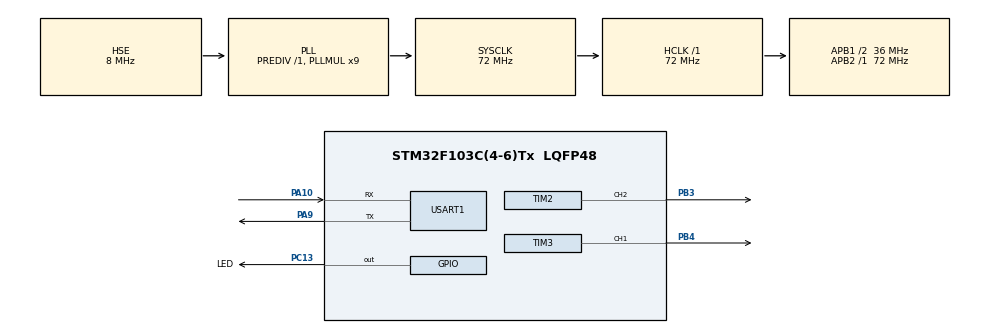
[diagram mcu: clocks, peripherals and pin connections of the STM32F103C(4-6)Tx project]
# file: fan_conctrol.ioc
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Dma.Request0=USART1_RX
Dma.Request1=TIM3_CH1/TRIG
Dma.TIM3_CH1/TRIG.1.Direction=DMA_MEMORY_TO_PERIPH
Dma.TIM3_CH1/TRIG.1.Instance=DMA1_Channel6
Dma.TIM3_CH1/TRIG.1.MemDataAlignment=DMA_MDATAALIGN_HALFWORD
Dma.TIM3_CH1/TRIG.1.MemInc=DMA_MINC_ENABLE
Dma.TIM3_CH1/TRIG.1.Mode=DMA_NORMAL
Dma.TIM3_CH1/TRIG.1.PeriphDataAlignment=DMA_PDATAALIGN_HALFWORD
Dma.TIM3_CH1/TRIG.1.PeriphInc=DMA_PINC_DISABLE
Dma.TIM3_CH1/TRIG.1.Priority=DMA_PRIORITY_LOW
Dma.USART1_RX.0.Direction=DMA_PERIPH_TO_MEMORY
Dma.USART1_RX.0.Instance=DMA1_Channel5
Dma.USART1_RX.0.MemDataAlignment=DMA_MDATAALIGN_BYTE
Dma.USART1_RX.0.MemInc=DMA_MINC_ENABLE
Dma.USART1_RX.0.Mode=DMA_NORMAL
Dma.USART1_RX.0.PeriphDataAlignment=DMA_PDATAALIGN_BYTE
Dma.USART1_RX.0.PeriphInc=DMA_PINC_DISABLE
Dma.USART1_RX.0.Priority=DMA_PRIORITY_LOW
Mcu.Family=STM32F1
Mcu.Name=STM32F103C(4-6)Tx
Mcu.Package=LQFP48
NVIC.DMA1_Channel5_IRQn=true\:0\:0\:false\:false\:true\:false\:true\:true
NVIC.DMA1_Channel6_IRQn=true\:0\:0\:false\:false\:true\:false\:true\:true
NVIC.PriorityGroup=NVIC_PRIORITYGROUP_4
NVIC.USART1_IRQn=true\:0\:0\:false\:false\:true\:true\:true\:true
PA10.Mode=Asynchronous
PA10.Signal=USART1_RX
PA13.Mode=Serial_Wire
PA13.Signal=SYS_JTMS-SWDIO
PA14.Mode=Serial_Wire
PA14.Signal=SYS_JTCK-SWCLK
PA9.Mode=Asynchronous
PA9.Signal=USART1_TX
PB3.GPIO_ModeDefaultPP=GPIO_MODE_AF_PP
PB3.Signal=S_TIM2_CH2
PB4.GPIO_Speed=GPIO_SPEED_FREQ_HIGH
PB4.Signal=S_TIM3_CH1
PC13-TAMPER-RTC.GPIO_Label=LED
PC13-TAMPER-RTC.Signal=GPIO_Output
PC14-OSC32_IN.Mode=LSE-External-Oscillator
PC14-OSC32_IN.Signal=RCC_OSC32_IN
PC15-OSC32_OUT.Mode=LSE-External-Oscillator
PC15-OSC32_OUT.Signal=RCC_OSC32_OUT
PD0-OSC_IN.Mode=HSE-External-Oscillator
PD0-OSC_IN.Signal=RCC_OSC_IN
PD1-OSC_OUT.Mode=HSE-External-Oscillator
PD1-OSC_OUT.Signal=RCC_OSC_OUT
ProjectManager.HeapSize=0x200
ProjectManager.StackSize=0x400
ProjectManager.TargetToolchain=STM32CubeIDE
RCC.AHBFreq_Value=72000000
RCC.APB1CLKDivider=RCC_HCLK_DIV2
RCC.APB1Freq_Value=36000000
RCC.APB1TimFreq_Value=72000000
RCC.APB2Freq_Value=72000000
RCC.APB2TimFreq_Value=72000000
RCC.HCLKFreq_Value=72000000
RCC.PLLMUL=RCC_PLL_MUL9
RCC.PLLSourceVirtual=RCC_PLLSOURCE_HSE
RCC.SYSCLKFreq_VALUE=72000000
RCC.SYSCLKSource=RCC_SYSCLKSOURCE_PLLCLK
RCC.USBFreq_Value=72000000
SH.S_TIM2_CH2.0=TIM2_CH2,PWM Generation2 CH2
SH.S_TIM3_CH1.0=TIM3_CH1,PWM Generation1 CH1
TIM2.Channel-PWM\ Generation2\ CH2=TIM_CHANNEL_2
TIM2.Period=2880-1
TIM2.Pulse-PWM\ Generation2\ CH2=1440
TIM3.Channel-PWM\ Generation1\ CH1=TIM_CHANNEL_1
TIM3.Period=90-1
USART1.VirtualMode=VM_ASYNC
VP_TIM2_VS_ClockSourceINT.Mode=Internal
VP_TIM3_VS_ClockSourceINT.Mode=Internal
board=custom

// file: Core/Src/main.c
/* USER CODE BEGIN Header */
/**
  ******************************************************************************
  * @file           : main.c
  * @brief          : Main program body
  ******************************************************************************
  * @attention
  *
  * Copyright (c) 2025 STMicroelectronics.
  * All rights reserved.
  *
  * This software is licensed under terms that can be found in the LICENSE file
  * in the root directory of this software component.
  * If no LICENSE file comes with this software, it is provided AS-IS.
  *
  ******************************************************************************
  */
/* USER CODE END Header */
#include "main.h"
#include "dma.h"
#include "tim.h"
#include "usart.h"
#include "gpio.h"

/* USER CODE BEGIN Includes */
#include <stdio.h>
#include <string.h>
#include <stdlib.h>
#include "ws2812.h"
#include "usart_process.h"
#include "fan_speed.h"
/* USER CODE END Includes */

void SystemClock_Config(void);

/* USER CODE BEGIN 0 */
#ifdef __GNUC__
#define PUTCHAR_PROTOTYPE int __io_putchar(int ch)
#else
#define PUTCHAR_PROTOTYPE int fputc(int ch, FILE *f)
#endif
// printf 重定向
PUTCHAR_PROTOTYPE
{
	HAL_UART_Transmit(&USART_HANDLE, (uint8_t *)&ch, 1, HAL_MAX_DELAY);
	return ch;
}
/* USER CODE END 0 */

int main(void)
{

  /* MCU Configuration--------------------------------------------------------*/

  /* Reset of all peripherals, Initializes the Flash interface and the Systick. */
  HAL_Init();

  /* Configure the system clock */
  SystemClock_Config();

  /* Initialize all configured peripherals */
  MX_GPIO_Init();
  MX_DMA_Init();
  MX_TIM3_Init();
  MX_USART1_UART_Init();
  MX_TIM2_Init();
  /* USER CODE BEGIN 2 */
//  printf("Init done\n");
  HAL_UARTEx_ReceiveToIdle_DMA(&huart1, uart_rx_buf, USART_BUF_SIZE);
  uint8_t pre_speed = fan_config.fan_speed;
  Fan_Speed_Set(fan_config.fan_speed);
  Fan_Speed_Start();
  /* USER CODE END 2 */

  /* Infinite loop */
  while (1)
  {

    /* USER CODE BEGIN 3 */
	  // fan_config.fan_speed 的值发生改变
	  if (pre_speed != fan_config.fan_speed) {
		  Fan_Speed_Set(fan_config.fan_speed);
		  pre_speed = fan_config.fan_speed;
	  }

	  // RGB 模式选择
	  switch (fan_config.color_mode) {
	  case CLOSE: {
		  close_light();
		  break;
	  }
	  case RAINBOW: {
		  rainbow_light(fan_config.color_speed, fan_config.color_step);
		  break;
	  }
	  case BREATHING: {
		  breathing_light(fan_config.color_speed, fan_config.color_step);
		  break;
	  }
	  case SINGLE: {
		  single_light(fan_config.fan_id,
			  fan_config.color_r, fan_config.color_g, fan_config.color_b);
		  break;
	  }
	  default:
		  rainbow_light(fan_config.color_speed, fan_config.color_step);
	  }

//	  HAL_Delay(500);
	  HAL_GPIO_TogglePin(LED_GPIO_Port, LED_Pin);

  }
  /* USER CODE END 3 */
}

void SystemClock_Config(void)
{
  RCC_OscInitTypeDef RCC_OscInitStruct = {0};
  RCC_ClkInitTypeDef RCC_ClkInitStruct = {0};

  /** Initializes the RCC Oscillators according to the specified parameters
  * in the RCC_OscInitTypeDef structure.
  */
  RCC_OscInitStruct.OscillatorType = RCC_OSCILLATORTYPE_HSE;
  RCC_OscInitStruct.HSEState = RCC_HSE_ON;
  RCC_OscInitStruct.HSEPredivValue = RCC_HSE_PREDIV_DIV1;
  RCC_OscInitStruct.HSIState = RCC_HSI_ON;
  RCC_OscInitStruct.PLL.PLLState = RCC_PLL_ON;
  RCC_OscInitStruct.PLL.PLLSource = RCC_PLLSOURCE_HSE;
  RCC_OscInitStruct.PLL.PLLMUL = RCC_PLL_MUL9;
  if (HAL_RCC_OscConfig(&RCC_OscInitStruct) != HAL_OK)
  {
    Error_Handler();
  }

  /** Initializes the CPU, AHB and APB buses clocks
  */
  RCC_ClkInitStruct.ClockType = RCC_CLOCKTYPE_HCLK|RCC_CLOCKTYPE_SYSCLK
                              |RCC_CLOCKTYPE_PCLK1|RCC_CLOCKTYPE_PCLK2;
  RCC_ClkInitStruct.SYSCLKSource = RCC_SYSCLKSOURCE_PLLCLK;
  RCC_ClkInitStruct.AHBCLKDivider = RCC_SYSCLK_DIV1;
  RCC_ClkInitStruct.APB1CLKDivider = RCC_HCLK_DIV2;
  RCC_ClkInitStruct.APB2CLKDivider = RCC_HCLK_DIV1;

  if (HAL_RCC_ClockConfig(&RCC_ClkInitStruct, FLASH_LATENCY_2) != HAL_OK)
  {
    Error_Handler();
  }
}

void Error_Handler(void)
{
  __disable_irq();
  while (1)
  {
  }
}
